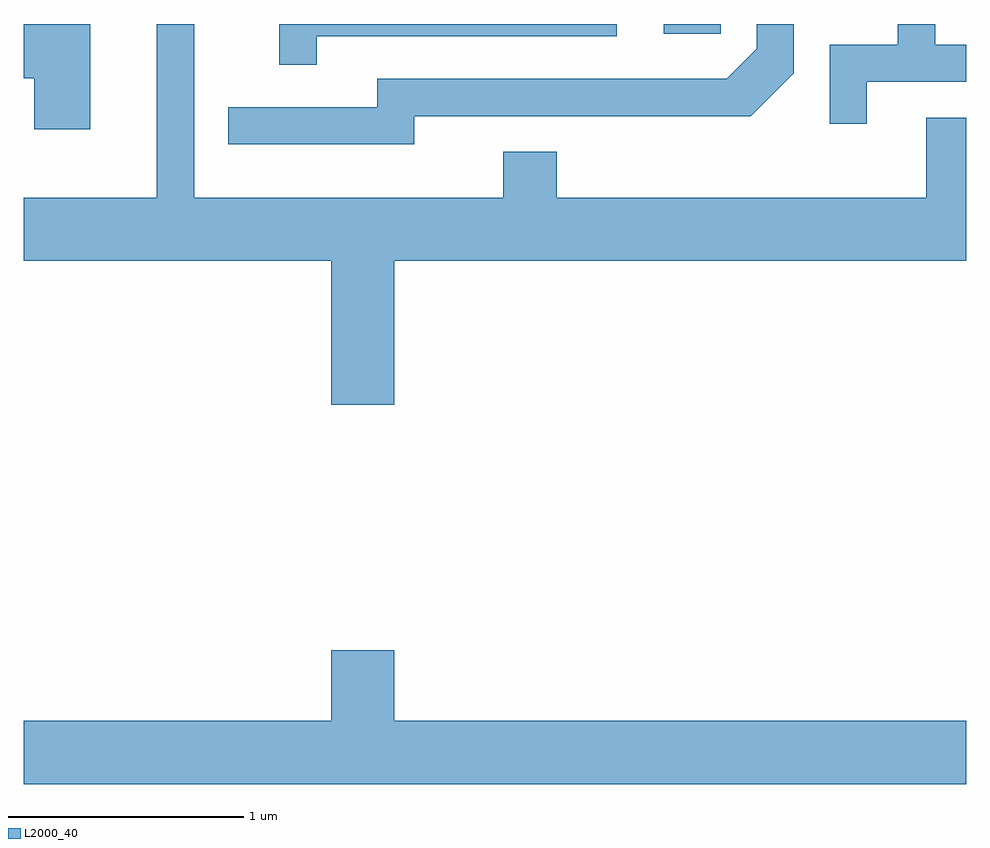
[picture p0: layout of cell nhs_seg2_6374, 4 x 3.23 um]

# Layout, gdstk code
import gdstk
lib = gdstk.Library(unit=1e-6, precision=1e-09)
def R(c, l, rs):  # rectangles x0, y0, x1, y1
    for r in rs: c.add(gdstk.rectangle(r[:2], r[2:], *l))
def P(c, l, *ps):  # polygons
    for p in ps: c.add(gdstk.Polygon(p, *l))
L2000_40 = (2000, 40)

nhs_seg2_6374 = lib.new_cell('nhs_seg2_6374')
R(nhs_seg2_6374, L2000_40, [(376.328,1013.761,376.569,1013.802)])
P(nhs_seg2_6374, L2000_40, [(375.184,1012.796),(377.611,1012.796),(377.611,1013.404),(377.441,1013.404),(377.441,1013.064),(375.874,1013.064),(375.874,1013.259),(375.646,1013.259),(375.646,1013.064),(374.334,1013.064),(374.334,1013.802),(374.176,1013.802),(374.176,1013.064),(373.611,1013.064),(373.611,1012.796),(374.916,1012.796),(374.916,1012.186),(375.184,1012.186)],
  [(375.269,1013.411),(376.697,1013.411),(376.879,1013.594),(376.879,1013.802),(376.721,1013.802),(376.721,1013.697),(376.594,1013.569),(375.111,1013.569),(375.111,1013.449),(374.478,1013.449),(374.478,1013.291),(375.269,1013.291)],
  [(373.894,1013.802),(373.611,1013.802),(373.611,1013.571),(373.656,1013.571),(373.656,1013.356),(373.894,1013.356)],
  [(377.189,1013.556),(377.611,1013.556),(377.611,1013.714),(377.479,1013.714),(377.479,1013.802),(377.321,1013.802),(377.321,1013.714),(377.031,1013.714),(377.031,1013.378),(377.189,1013.378)],
  [(374.854,1013.751),(376.128,1013.751),(376.128,1013.802),(374.696,1013.802),(374.696,1013.628),(374.854,1013.628)],
  [(377.611,1010.844),(375.184,1010.844),(375.184,1011.144),(374.916,1011.144),(374.916,1010.844),(373.611,1010.844),(373.611,1010.576),(377.611,1010.576)])

lib.write_gds('nhs_seg2_6374.gds')
